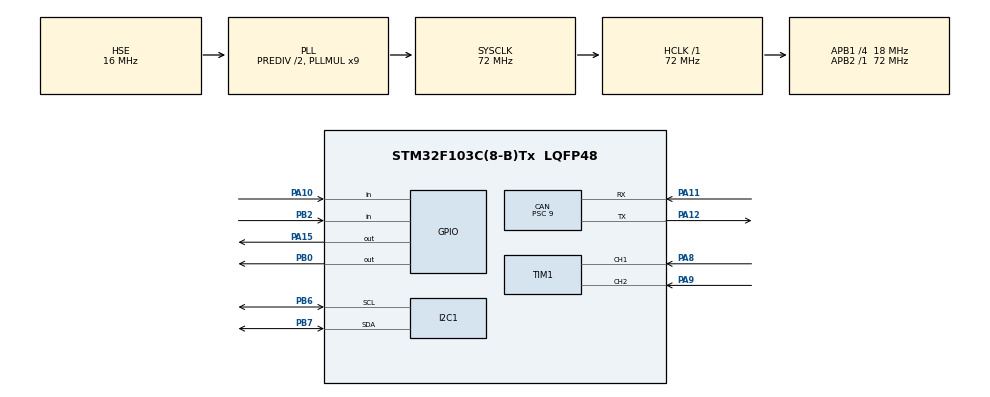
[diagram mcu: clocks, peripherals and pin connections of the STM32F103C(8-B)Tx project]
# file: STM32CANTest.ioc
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CAN.AWUM=ENABLE
CAN.BS1=CAN_BS1_2TQ
CAN.CalculateBaudRate=500000
CAN.CalculateTimeBit=2000
CAN.CalculateTimeQuantum=500.0
CAN.NART=ENABLE
CAN.Prescaler=9
CAN.TXFP=ENABLE
Mcu.Family=STM32F1
Mcu.Name=STM32F103C(8-B)Tx
Mcu.Package=LQFP48
NVIC.CAN1_RX1_IRQn=true\:0\:0\:false\:false\:true\:true\:true\:true
NVIC.PriorityGroup=NVIC_PRIORITYGROUP_4
PA10.GPIO_PuPd=GPIO_PULLUP
PA10.Signal=GPIO_Input
PA11.Mode=CAN_Activate
PA11.Signal=CAN_RX
PA12.Mode=CAN_Activate
PA12.Signal=CAN_TX
PA13.Mode=Serial_Wire
PA13.Signal=SYS_JTMS-SWDIO
PA14.Mode=Serial_Wire
PA14.Signal=SYS_JTCK-SWCLK
PA15.Signal=GPIO_Output
PA8.Signal=S_TIM1_CH1
PA9.Signal=S_TIM1_CH2
PB0.Signal=GPIO_Output
PB2.GPIO_PuPd=GPIO_PULLUP
PB2.Signal=GPIO_Input
PB6.Mode=I2C
PB6.Signal=I2C1_SCL
PB7.Mode=I2C
PB7.Signal=I2C1_SDA
PD0-OSC_IN.Mode=HSE-External-Oscillator
PD0-OSC_IN.Signal=RCC_OSC_IN
PD1-OSC_OUT.Mode=HSE-External-Oscillator
PD1-OSC_OUT.Signal=RCC_OSC_OUT
ProjectManager.HeapSize=0x200
ProjectManager.StackSize=0x400
ProjectManager.TargetToolchain=STM32CubeIDE
RCC.AHBFreq_Value=72000000
RCC.APB1CLKDivider=RCC_HCLK_DIV4
RCC.APB1Freq_Value=18000000
RCC.APB1TimFreq_Value=36000000
RCC.APB2Freq_Value=72000000
RCC.APB2TimFreq_Value=72000000
RCC.HCLKFreq_Value=72000000
RCC.HSEDivPLL=RCC_HSE_PREDIV_DIV2
RCC.HSE_VALUE=16000000
RCC.PLLMUL=RCC_PLL_MUL9
RCC.PLLSourceVirtual=RCC_PLLSOURCE_HSE
RCC.SYSCLKFreq_VALUE=72000000
RCC.SYSCLKSource=RCC_SYSCLKSOURCE_PLLCLK
RCC.USBFreq_Value=72000000
SH.S_TIM1_CH1.0=TIM1_CH1,Encoder_Interface
SH.S_TIM1_CH2.0=TIM1_CH2,Encoder_Interface
TIM1.EncoderMode=TIM_ENCODERMODE_TI12
TIM1.IC1Polarity=TIM_ICPOLARITY_FALLING
TIM1.IC2Polarity=TIM_ICPOLARITY_FALLING
board=custom

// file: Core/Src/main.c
/* USER CODE BEGIN Header */
/**
  ******************************************************************************
  * @file           : main.c
  * @brief          : Main program body
  ******************************************************************************
  * @attention
  *
  * Copyright (c) 2024 STMicroelectronics.
  * All rights reserved.
  *
  * This software is licensed under terms that can be found in the LICENSE file
  * in the root directory of this software component.
  * If no LICENSE file comes with this software, it is provided AS-IS.
  *
  ******************************************************************************
  */
/* USER CODE END Header */
#include "main.h"
#include "dac.h"
#include <stdbool.h>
#include "encoder.h"
#include "eeprom.h"
#include "led_control.h"
#include "can_handler.h"
#include "buzzer.h"

CAN_HandleTypeDef hcan;

I2C_HandleTypeDef hi2c1;

TIM_HandleTypeDef htim1;

/* USER CODE BEGIN PV */
uint16_t eeprom_test_data;
static uint8_t lastButtonState = GPIO_PIN_SET;
static uint8_t buttonPressed = 0;
static uint8_t longPressDetected = 0;
static uint32_t pressStartTime = 0;
bool isCalibrationMode = false;

// Calibration button defines (using same pin as LED control for actions)
#define CAL_BUTTON_PIN BUTTON_PIN
#define CAL_BUTTON_PORT BUTTON_PORT

// Calibration entry pin (PB2)
#define CAL_ENTRY_PIN GPIO_PIN_2
#define CAL_ENTRY_PORT GPIOB
/* USER CODE END PV */

void SystemClock_Config(void);
static void MX_GPIO_Init(void);
static void MX_CAN_Init(void);
static void MX_I2C1_Init(void);
static void MX_TIM1_Init(void);

int main(void)
{

  /* MCU Configuration--------------------------------------------------------*/

  /* Reset of all peripherals, Initializes the Flash interface and the Systick. */
  HAL_Init();

  /* Configure the system clock */
  SystemClock_Config();

  /* Initialize all configured peripherals */
  MX_GPIO_Init();
  MX_I2C1_Init();
  // Initialize DAC with off value
  MCP4725_Write(0); // Start with DAC at 0
  MX_CAN_Init();

  MX_TIM1_Init();
  /* USER CODE BEGIN 2 */
  // Initialize encoder
  Encoder_Init(&htim1);

  // Initialize buzzer
  Buzzer_Init();

  // Initialize and start CAN
  CAN_Handler_Init();
  CAN_Config_Filter();
  if(CAN_Start() != HAL_OK)
  {
    Error_Handler();
  }

  // Initialize EEPROM
  EEPROM_Init();

  // Check if PB2 is held low during startup for calibration mode
  HAL_Delay(100); // Small delay to ensure pin state is stable

  if(HAL_GPIO_ReadPin(CAL_ENTRY_PORT, CAL_ENTRY_PIN) == GPIO_PIN_RESET) {
      isCalibrationMode = true;
      Encoder_SetMode(CALIBRATE_LOW);
      buttonPressed = 0;
      longPressDetected = 0;
  }

  /* USER CODE END 2 */

  /* Infinite loop */
  /* USER CODE BEGIN WHILE */
  while (1)
  {
    if(isCalibrationMode) {
        // Update encoder in calibration mode
        Encoder_Update();
        Check_Calibration_Button();
        // Update DAC value in both modes
        uint16_t newDacValue = Encoder_GetDACValue();
        MCP4725_Write(newDacValue);
    }
    else {
        // Normal operation mode
        Encoder_Update();
        Check_Button();
        CAN_Handler_Process();
    }
    /* USER CODE END WHILE */
  }
}

void SystemClock_Config(void)
{
  RCC_OscInitTypeDef RCC_OscInitStruct = {0};
  RCC_ClkInitTypeDef RCC_ClkInitStruct = {0};

  /** Initializes the RCC Oscillators according to the specified parameters
  * in the RCC_OscInitTypeDef structure.
  */
  RCC_OscInitStruct.OscillatorType = RCC_OSCILLATORTYPE_HSE;
  RCC_OscInitStruct.HSEState = RCC_HSE_ON;
  RCC_OscInitStruct.HSEPredivValue = RCC_HSE_PREDIV_DIV2;
  RCC_OscInitStruct.HSIState = RCC_HSI_ON;
  RCC_OscInitStruct.PLL.PLLState = RCC_PLL_ON;
  RCC_OscInitStruct.PLL.PLLSource = RCC_PLLSOURCE_HSE;
  RCC_OscInitStruct.PLL.PLLMUL = RCC_PLL_MUL9;
  if (HAL_RCC_OscConfig(&RCC_OscInitStruct) != HAL_OK)
  {
    Error_Handler();
  }

  /** Initializes the CPU, AHB and APB buses clocks
  */
  RCC_ClkInitStruct.ClockType = RCC_CLOCKTYPE_HCLK|RCC_CLOCKTYPE_SYSCLK
                              |RCC_CLOCKTYPE_PCLK1|RCC_CLOCKTYPE_PCLK2;
  RCC_ClkInitStruct.SYSCLKSource = RCC_SYSCLKSOURCE_PLLCLK;
  RCC_ClkInitStruct.AHBCLKDivider = RCC_SYSCLK_DIV1;
  RCC_ClkInitStruct.APB1CLKDivider = RCC_HCLK_DIV4;
  RCC_ClkInitStruct.APB2CLKDivider = RCC_HCLK_DIV1;

  if (HAL_RCC_ClockConfig(&RCC_ClkInitStruct, FLASH_LATENCY_2) != HAL_OK)
  {
    Error_Handler();
  }
}

static void MX_CAN_Init(void)
{

  hcan.Instance = CAN1;
  hcan.Init.Prescaler = 9;
  hcan.Init.Mode = CAN_MODE_NORMAL;
  hcan.Init.SyncJumpWidth = CAN_SJW_1TQ;
  hcan.Init.TimeSeg1 = CAN_BS1_2TQ;
  hcan.Init.TimeSeg2 = CAN_BS2_1TQ;
  hcan.Init.TimeTriggeredMode = DISABLE;
  hcan.Init.AutoBusOff = DISABLE;
  hcan.Init.AutoWakeUp = DISABLE;
  hcan.Init.AutoRetransmission = DISABLE;
  hcan.Init.ReceiveFifoLocked = DISABLE;
  hcan.Init.TransmitFifoPriority = DISABLE;
  if (HAL_CAN_Init(&hcan) != HAL_OK)
  {
    Error_Handler();
  }
  /* USER CODE BEGIN CAN_Init 2 */
  // Enable interrupts
  HAL_NVIC_SetPriority(USB_LP_CAN1_RX0_IRQn, 0, 0);
  HAL_NVIC_EnableIRQ(USB_LP_CAN1_RX0_IRQn);

  HAL_NVIC_SetPriority(CAN1_SCE_IRQn, 0, 0);
  HAL_NVIC_EnableIRQ(CAN1_SCE_IRQn);
  /* USER CODE END CAN_Init 2 */

}

static void MX_I2C1_Init(void)
{

  hi2c1.Instance = I2C1;
  hi2c1.Init.ClockSpeed = 100000;
  hi2c1.Init.DutyCycle = I2C_DUTYCYCLE_2;
  hi2c1.Init.OwnAddress1 = 0;
  hi2c1.Init.AddressingMode = I2C_ADDRESSINGMODE_7BIT;
  hi2c1.Init.DualAddressMode = I2C_DUALADDRESS_DISABLE;
  hi2c1.Init.OwnAddress2 = 0;
  hi2c1.Init.GeneralCallMode = I2C_GENERALCALL_DISABLE;
  hi2c1.Init.NoStretchMode = I2C_NOSTRETCH_DISABLE;
  if (HAL_I2C_Init(&hi2c1) != HAL_OK)
  {
    Error_Handler();
  }

}

static void MX_TIM1_Init(void)
{

  TIM_Encoder_InitTypeDef sConfig = {0};
  TIM_MasterConfigTypeDef sMasterConfig = {0};

  htim1.Instance = TIM1;
  htim1.Init.Prescaler = 0;
  htim1.Init.CounterMode = TIM_COUNTERMODE_UP;
  htim1.Init.Period = 65535;
  htim1.Init.ClockDivision = TIM_CLOCKDIVISION_DIV1;
  htim1.Init.RepetitionCounter = 0;
  htim1.Init.AutoReloadPreload = TIM_AUTORELOAD_PRELOAD_DISABLE;
  sConfig.EncoderMode = TIM_ENCODERMODE_TI12;
  sConfig.IC1Polarity = TIM_ICPOLARITY_FALLING;
  sConfig.IC1Selection = TIM_ICSELECTION_DIRECTTI;
  sConfig.IC1Prescaler = TIM_ICPSC_DIV1;
  sConfig.IC1Filter = 0;
  sConfig.IC2Polarity = TIM_ICPOLARITY_FALLING;
  sConfig.IC2Selection = TIM_ICSELECTION_DIRECTTI;
  sConfig.IC2Prescaler = TIM_ICPSC_DIV1;
  sConfig.IC2Filter = 0;
  if (HAL_TIM_Encoder_Init(&htim1, &sConfig) != HAL_OK)
  {
    Error_Handler();
  }
  sMasterConfig.MasterOutputTrigger = TIM_TRGO_RESET;
  sMasterConfig.MasterSlaveMode = TIM_MASTERSLAVEMODE_DISABLE;
  if (HAL_TIMEx_MasterConfigSynchronization(&htim1, &sMasterConfig) != HAL_OK)
  {
    Error_Handler();
  }

}

static void MX_GPIO_Init(void)
{
  GPIO_InitTypeDef GPIO_InitStruct = {0};

  /* GPIO Ports Clock Enable */
  __HAL_RCC_GPIOD_CLK_ENABLE();
  __HAL_RCC_GPIOB_CLK_ENABLE();
  __HAL_RCC_GPIOA_CLK_ENABLE();

  /*Configure GPIO pin Output Level */
  HAL_GPIO_WritePin(GPIOB, GPIO_PIN_0, GPIO_PIN_RESET);

  /*Configure GPIO pin Output Level */
  HAL_GPIO_WritePin(GPIOA, GPIO_PIN_15, GPIO_PIN_RESET);

  /*Configure GPIO pin : PB0 */
  GPIO_InitStruct.Pin = GPIO_PIN_0;
  GPIO_InitStruct.Mode = GPIO_MODE_OUTPUT_PP;
  GPIO_InitStruct.Pull = GPIO_NOPULL;
  GPIO_InitStruct.Speed = GPIO_SPEED_FREQ_LOW;
  HAL_GPIO_Init(GPIOB, &GPIO_InitStruct);

  /*Configure GPIO pin : PB2 */
  GPIO_InitStruct.Pin = GPIO_PIN_2;
  GPIO_InitStruct.Mode = GPIO_MODE_INPUT;
  GPIO_InitStruct.Pull = GPIO_PULLUP;
  HAL_GPIO_Init(GPIOB, &GPIO_InitStruct);

  /*Configure GPIO pin : PA10 */
  GPIO_InitStruct.Pin = GPIO_PIN_10;
  GPIO_InitStruct.Mode = GPIO_MODE_INPUT;
  GPIO_InitStruct.Pull = GPIO_PULLUP;
  HAL_GPIO_Init(GPIOA, &GPIO_InitStruct);

  /*Configure GPIO pin : PA15 */
  GPIO_InitStruct.Pin = GPIO_PIN_15;
  GPIO_InitStruct.Mode = GPIO_MODE_OUTPUT_PP;
  GPIO_InitStruct.Pull = GPIO_NOPULL;
  GPIO_InitStruct.Speed = GPIO_SPEED_FREQ_LOW;
  HAL_GPIO_Init(GPIOA, &GPIO_InitStruct);

}

/* USER CODE BEGIN 4 */
void Calibration_Single_Click(void)
{
    // Only handle button in CALIBRATE_HIGH mode
    if (encoderMode == CALIBRATE_HIGH) {
        Encoder_SaveCalibration();
        Encoder_SetMode(CALIBRATE_LOW);
    }
}

void Calibration_Long_Press(void)
{
    // Only allow long press in CALIBRATE_HIGH mode
    if (encoderMode == CALIBRATE_HIGH) {
        // Save calibration and halt until power cycle
        Encoder_SaveCalibration();
        while(1) {
            // System halted - requires power cycle
            HAL_Delay(1000);
            Buzzer_Off();
        }
    }
}

void Check_Calibration_Button(void)
{
    uint8_t currentButtonState = HAL_GPIO_ReadPin(CAL_BUTTON_PORT, CAL_BUTTON_PIN);

    // Debounce logic
    if (currentButtonState != lastButtonState)
    {
        HAL_Delay(DEBOUNCE_DELAY);
        currentButtonState = HAL_GPIO_ReadPin(CAL_BUTTON_PORT, CAL_BUTTON_PIN);
    }

    // Button just pressed
    if (currentButtonState == GPIO_PIN_RESET && lastButtonState == GPIO_PIN_SET)
    {
        buttonPressed = 1;
        longPressDetected = 0;
        pressStartTime = HAL_GetTick();
    }
    // Button just released
    else if (currentButtonState == GPIO_PIN_SET && lastButtonState == GPIO_PIN_RESET)
    {
        if (!longPressDetected && buttonPressed)
        {
            if (encoderMode == CALIBRATE_LOW) {
                // When button is released in LOW mode, save and switch to HIGH
                Encoder_SaveCalibration();
                Encoder_SetMode(CALIBRATE_HIGH);
            } else {
                Calibration_Single_Click();
            }
        }
        buttonPressed = 0;
        longPressDetected = 0;
    }
    // Button is being held down
    else if (currentButtonState == GPIO_PIN_RESET && buttonPressed && !longPressDetected)
    {
        uint32_t pressDuration = HAL_GetTick() - pressStartTime;
        // Only check for long press if in CALIBRATE_HIGH mode
        if (pressDuration > LONG_PRESS_DELAY && encoderMode == CALIBRATE_HIGH)
        {
            Calibration_Long_Press();
            longPressDetected = 1;
        }
    }

    lastButtonState = currentButtonState;
}
/* USER CODE END 4 */

void Error_Handler(void)
{
  __disable_irq();
  while (1)
  {
  }
}
